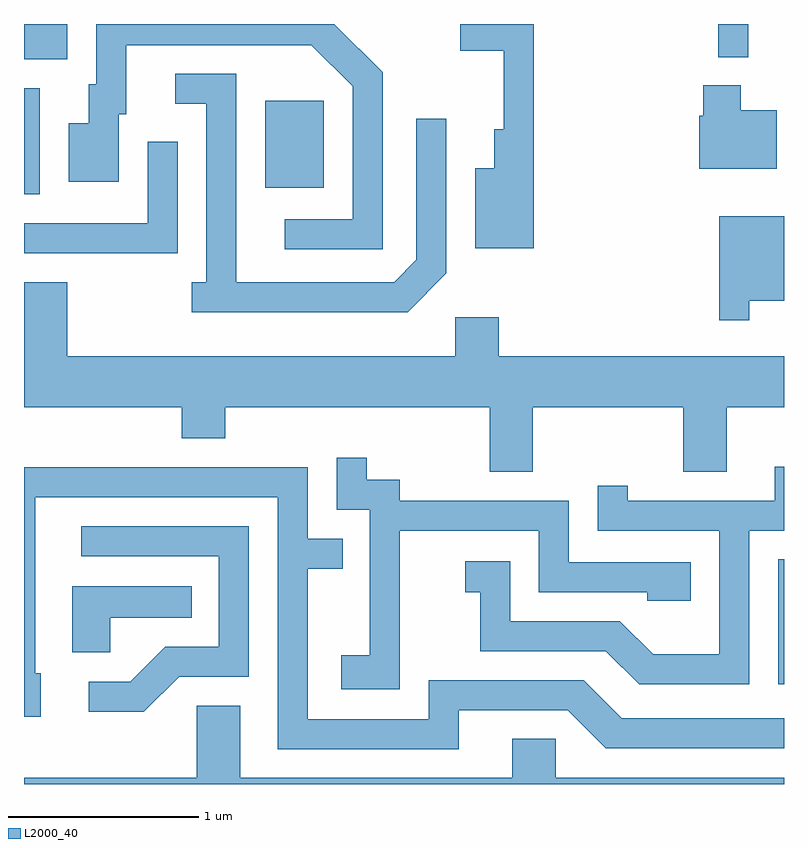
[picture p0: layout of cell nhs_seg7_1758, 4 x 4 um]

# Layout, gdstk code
import gdstk
lib = gdstk.Library(unit=1e-6, precision=1e-09)
def R(c, l, rs):  # rectangles x0, y0, x1, y1
    for r in rs: c.add(gdstk.rectangle(r[:2], r[2:], *l))
def P(c, l, *ps):  # polygons
    for p in ps: c.add(gdstk.Polygon(p, *l))
L2000_40 = (2000, 40)

nhs_seg7_1758 = lib.new_cell('nhs_seg7_1758')
R(nhs_seg7_1758, L2000_40, [(241.581,1792.776,241.611,1793.434), (237.611,1795.356,237.694,1795.914), (238.881,1795.391,239.189,1795.849), (237.611,1796.066,237.839,1796.252), (241.266,1796.078,241.424,1796.252)])
P(nhs_seg7_1758, L2000_40, [(239.499,1795.997),(239.244,1796.252),(237.991,1796.252),(237.991,1795.934),(237.951,1795.934),(237.951,1795.729),(237.846,1795.729),(237.846,1795.421),(238.109,1795.421),(238.109,1795.776),(238.149,1795.776),(238.149,1796.141),(239.124,1796.141),(239.341,1795.924),(239.341,1795.224),(238.983,1795.224),(238.983,1795.066),(239.499,1795.066)],
  [(240.294,1796.252),(239.908,1796.252),(239.908,1796.111),(240.136,1796.111),(240.136,1795.699),(240.086,1795.699),(240.086,1795.494),(239.986,1795.494),(239.986,1795.071),(240.294,1795.071)],
  [(239.834,1794.939),(239.834,1795.753),(239.676,1795.753),(239.676,1795.012),(239.559,1794.894),(238.729,1794.894),(238.729,1795.989),(238.408,1795.989),(238.408,1795.831),(238.571,1795.831),(238.571,1794.894),(238.493,1794.894),(238.493,1794.736),(239.632,1794.736)],
  [(241.574,1795.799),(241.384,1795.799),(241.384,1795.929),(241.186,1795.929),(241.186,1795.769),(241.166,1795.769),(241.166,1795.491),(241.574,1795.491)],
  [(238.419,1795.633),(238.261,1795.633),(238.261,1795.204),(237.611,1795.204),(237.611,1795.046),(238.419,1795.046)],
  [(241.429,1794.796),(241.611,1794.796),(241.611,1795.239),(241.271,1795.239),(241.271,1794.693),(241.429,1794.693)],
  [(240.289,1794.236),(241.081,1794.236),(241.081,1793.896),(241.309,1793.896),(241.309,1794.236),(241.611,1794.236),(241.611,1794.504),(240.109,1794.504),(240.109,1794.709),(239.881,1794.709),(239.881,1794.504),(237.839,1794.504),(237.839,1794.894),(237.611,1794.894),(237.611,1794.236),(238.441,1794.236),(238.441,1794.071),(238.669,1794.071),(238.669,1794.236),(240.061,1794.236),(240.061,1793.896),(240.289,1793.896)],
  [(239.589,1793.586),(240.321,1793.586),(240.321,1793.261),(240.891,1793.261),(240.891,1793.216),(241.119,1793.216),(241.119,1793.419),(240.479,1793.419),(240.479,1793.744),(239.589,1793.744),(239.589,1793.854),(239.414,1793.854),(239.414,1793.968),(239.256,1793.968),(239.256,1793.696),(239.431,1793.696),(239.431,1792.929),(239.281,1792.929),(239.281,1792.751),(239.589,1792.751)],
  [(241.429,1793.586),(241.611,1793.586),(241.611,1793.923),(241.561,1793.923),(241.561,1793.744),(240.789,1793.744),(240.789,1793.823),(240.631,1793.823),(240.631,1793.586),(241.271,1793.586),(241.271,1792.934),(240.922,1792.934),(240.747,1793.109),(240.169,1793.109),(240.169,1793.424),(239.933,1793.424),(239.933,1793.261),(240.011,1793.261),(240.011,1792.951),(240.674,1792.951),(240.849,1792.776),(241.429,1792.776)],
  [(239.899,1792.641),(240.474,1792.641),(240.674,1792.441),(241.611,1792.441),(241.611,1792.599),(240.757,1792.599),(240.557,1792.799),(239.741,1792.799),(239.741,1792.594),(239.104,1792.594),(239.104,1793.386),(239.288,1793.386),(239.288,1793.544),(239.104,1793.544),(239.104,1793.919),(237.611,1793.919),(237.611,1792.606),(237.699,1792.606),(237.699,1792.834),(237.669,1792.834),(237.669,1793.761),(238.946,1793.761),(238.946,1792.436),(239.899,1792.436)],
  [(238.427,1792.816),(238.794,1792.816),(238.794,1793.609),(237.913,1793.609),(237.913,1793.451),(238.636,1793.451),(238.636,1792.974),(238.354,1792.974),(238.169,1792.789),(237.953,1792.789),(237.953,1792.631),(238.242,1792.631)],
  [(238.064,1793.126),(238.493,1793.126),(238.493,1793.294),(237.866,1793.294),(237.866,1792.946),(238.064,1792.946)],
  [(237.611,1792.252),(241.611,1792.252),(241.611,1792.284),(240.409,1792.284),(240.409,1792.489),(240.181,1792.489),(240.181,1792.284),(238.749,1792.284),(238.749,1792.664),(238.521,1792.664),(238.521,1792.284),(237.611,1792.284)])

lib.write_gds('nhs_seg7_1758.gds')
